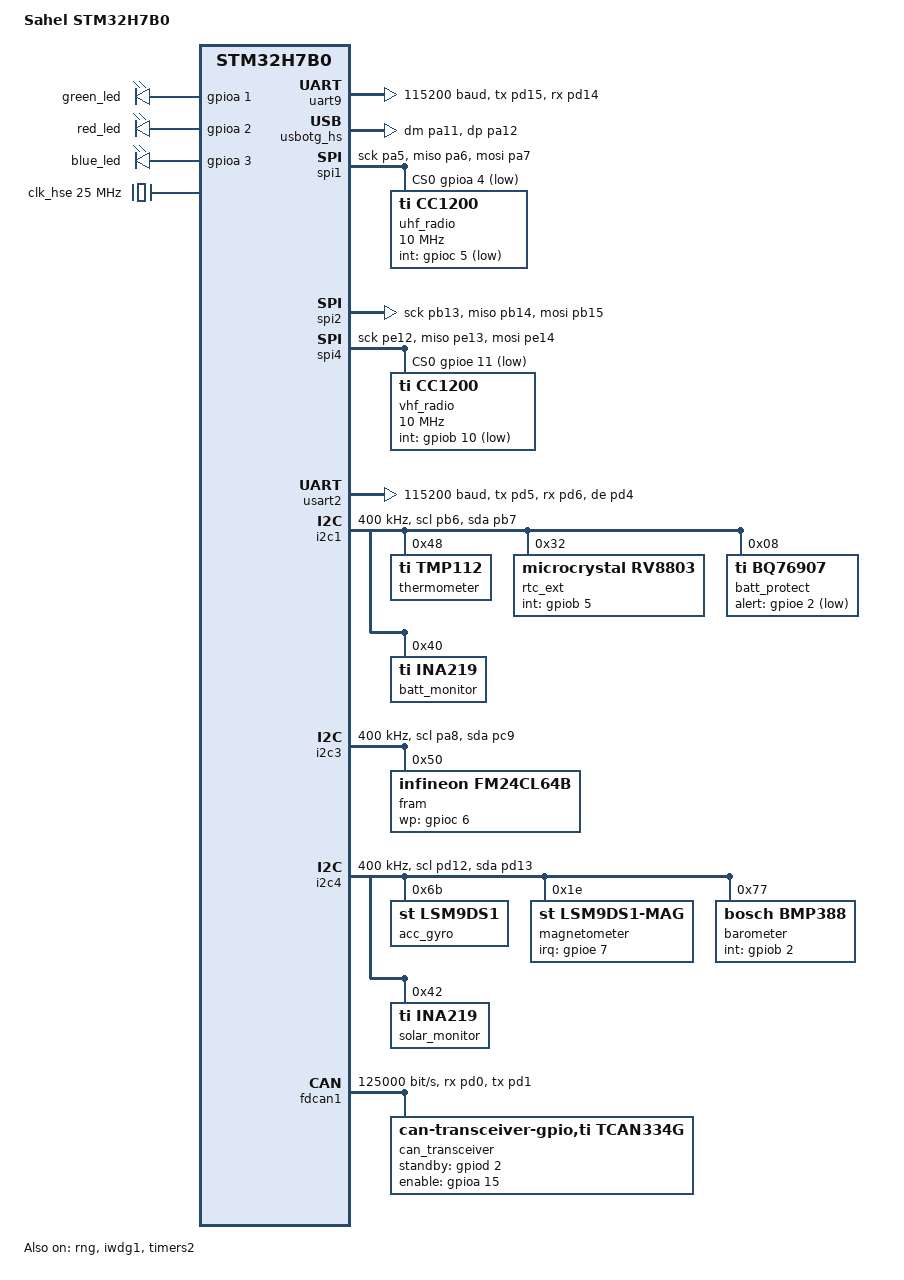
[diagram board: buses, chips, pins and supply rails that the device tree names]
/*
 * Copyright (c) 2026 pollelsat
 *
 * SPDX-License-Identifier: Apache-2.0
 */


/dts-v1/;

#include <st/h7/stm32h7b0Xb.dtsi>
#include <st/h7/stm32h7b0vbtx-pinctrl.dtsi>
#include <zephyr/dt-bindings/input/input-event-codes.h>
#include <zephyr/dt-bindings/mipi_dbi/mipi_dbi.h>

#include <zephyr/dt-bindings/sensor/lsm9ds1.h>
#include <zephyr/dt-bindings/timer/stm32-timer.h>
/ {

	model = "Sahel STM32H7B0";
	compatible = "custom,sahel-stm32h7b0";

	chosen {
		zephyr,sram = &sram0;
		zephyr,flash = &flash0;
		zephyr,entropy = &rng;

		zephyr,console = &cdc_acm_uart0;
		zephyr,shell-uart = &cdc_acm_uart0;

		zephyr,canbus = &fdcan1;
	};

	aliases {
    led0 = &green_led;
    led1 = &red_led;
    led2 = &blue_led;
    bus-spi = &spi2;
    bus-i2c = &i2c4;

    imu = &acc_gyro;
    mag = &magnetometer;

    fram = &fram;
		};

	leds {
		compatible = "gpio-leds";

		green_led: led_0 {
			gpios = <&gpioa 1 GPIO_ACTIVE_HIGH>;
		};

		red_led: led_1 {
			gpios = <&gpioa 2 GPIO_ACTIVE_HIGH>;
		};

		blue_led: led_2 {
			gpios = <&gpioa 3 GPIO_ACTIVE_HIGH>;
		};
	};

	uart9: serial@40011800 {
			compatible = "st,stm32-uart";
			reg = <0x40011800 0x400>;
			clocks = <&rcc STM32_CLOCK(APB2, 6)>;
			resets = <&rctl STM32_RESET(APB2, 6)>;
			interrupt-parent = <&nvic>;
			interrupts = <155 0>;
			status = "disabled";
		};	
};


/* -------------------------------------------------------------------------- */
/* CLOCKS / POWER                                                             */
/* -------------------------------------------------------------------------- */

&clk_lsi {
	status = "okay";
};

&clk_hsi48 {
	status = "okay";
};

&clk_hse {
	clock-frequency = <DT_FREQ_M(25)>;
	status = "okay";
};

&pll {
	div-m = <5>;
	mul-n = <112>;

	div-p = <2>;
	div-q = <2>;
	div-r = <2>;

	clocks = <&clk_hse>;

	status = "okay";
};

&rcc {
	clocks = <&pll>;

	clock-frequency = <DT_FREQ_M(280)>;

	d1cpre = <1>;
	hpre = <2>;

	d1ppre = <1>;
	d2ppre1 = <1>;
	d2ppre2 = <1>;
	d3ppre = <1>;
};

&pwr {
	power-supply = "ldo";
};

&rng {
	status = "okay";
};

&backup_sram {
	status = "okay";
};

&iwdg1 {
	status = "okay";
};

/* -------------------------------------------------------------------------- */
/* USB                                                                        */
/* -------------------------------------------------------------------------- */

zephyr_udc0: &usbotg_hs {
	pinctrl-0 = <
		&usb_otg_hs_dm_pa11
		&usb_otg_hs_dp_pa12
	>;

	pinctrl-names = "default";

	status = "okay";
};

#include <../boards/common/usb/cdc_acm_serial.dtsi>

/* -------------------------------------------------------------------------- */
/* SPI                                                                        */
/* -------------------------------------------------------------------------- */

&spi1 {

	pinctrl-0 = <
		&spi1_sck_pa5
		&spi1_miso_pa6
		&spi1_mosi_pa7
	>;

	cs-gpios = <&gpioa 4 GPIO_ACTIVE_LOW>;

	pinctrl-names = "default";

	status = "okay";

	uhf_radio: cc1200@0 {

		compatible = "ti,cc1200";

		reg = <0>;

		spi-max-frequency = <10000000>;

		int-gpios = <&gpioc 5 GPIO_ACTIVE_LOW>;
		//gpio3-gpios = <&gpioc 4 GPIO_ACTIVE_LOW>;

		//frequency = <430000000>;
		//datarate = <12000>;
	};
};

&spi2 {

	pinctrl-0 = <
		&spi2_sck_pb13
		&spi2_miso_pb14
		&spi2_mosi_pb15
	>;

	cs-gpios =
		<&gpiob 12 GPIO_ACTIVE_LOW>,
		<&gpiod 8 GPIO_ACTIVE_LOW>,
		<&gpiod 9 GPIO_ACTIVE_LOW>;

	pinctrl-names = "default";

	status = "okay";
};

&spi4 {

	pinctrl-0 = <
		&spi4_sck_pe12
		&spi4_miso_pe13
		&spi4_mosi_pe14
	>;

	cs-gpios = <&gpioe 11 GPIO_ACTIVE_LOW>;

	pinctrl-names = "default";

	status = "okay";

	vhf_radio: cc1200@0 {

		compatible = "ti,cc1200";

		reg = <0>;

		spi-max-frequency = <10000000>;

		int-gpios = <&gpiob 10 GPIO_ACTIVE_LOW>;
		//gpio3-gpios = <&gpiob 14 GPIO_ACTIVE_LOW>;

		//frequency = <170000000>;
		//datarate = <12000>;

		//status = "okay";
	};
};

/* -------------------------------------------------------------------------- */
/* UART / USART                                                               */
/* -------------------------------------------------------------------------- */

&usart2 {

	pinctrl-0 = <
		&usart2_tx_pd5
		&usart2_rx_pd6
		&usart2_de_pd4
	>;

	pinctrl-names = "default";

	current-speed = <115200>;

	de-enable;

	status = "okay";
};

&uart9 {

	pinctrl-0 = <
		&uart9_tx_pd15
		&uart9_rx_pd14
	>;

	pinctrl-names = "default";

	current-speed = <115200>;

	status = "okay";
};

/* -------------------------------------------------------------------------- */
/* I2C1                                                                       */
/* -------------------------------------------------------------------------- */

&i2c1 {

	pinctrl-0 = <
		&i2c1_scl_pb6
		&i2c1_sda_pb7
	>;

	pinctrl-names = "default";

	clock-frequency = <I2C_BITRATE_FAST>;

	status = "okay";

	thermometer: tmp112@48 {

		compatible = "ti,tmp112";

		reg = <0x48>;
	};

	rtc_ext: rv8803c7@32 {

		compatible = "microcrystal,rv8803";

		reg = <0x32>;
		clkout-frequency = <32768>;
		int-gpios = <&gpiob 5 GPIO_ACTIVE_HIGH>;
		//evi-gpios = <&gpiob 4 GPIO_ACTIVE_HIGH>;
	};

	batt_protect: bq76907@8 {
		compatible = "ti,bq76907";
		reg = <0x08>;

		alert-gpios = <&gpioe 2 (GPIO_PULL_UP | GPIO_ACTIVE_LOW)>;

		overvoltage-threshold = <4200>;
		undervoltage-threshold = <2500>;
		overcurrent-in-charge-threshold = <2000>;
		overcurrent-in-discharge1-threshold = <3500>;
		overcurrent-in-discharge2-threshold = <3500>;
		number-cell = <2>;
		rsense_mohms= <10>;
	};

	batt_monitor: ina219a@40 {

		compatible = "ti,ina219";

		reg = <0x40>;

		shunt-milliohm = <10>;
		lsb-microamp = <100>;

		status = "okay";
	};
};

/* -------------------------------------------------------------------------- */
/* I2C3                                                                       */
/* -------------------------------------------------------------------------- */

&i2c3 {

	pinctrl-0 = <
		&i2c3_scl_pa8
		&i2c3_sda_pc9
	>;

	pinctrl-names = "default";

	clock-frequency = <I2C_BITRATE_FAST>;

	status = "okay";

	fram: fm24cl64b@50 {
		status = "okay";

		compatible = "infineon,fm24cl64b";

		reg = <0x50>;

		size = <8192>;
		pagesize = <8>;
		address-width = <16>;

		wp-gpios = <&gpioc 6 GPIO_ACTIVE_HIGH>;

	};
};

/* -------------------------------------------------------------------------- */
/* I2C4                                                                       */
/* -------------------------------------------------------------------------- */

&i2c4 {

	pinctrl-0 = <
		&i2c4_scl_pd12
		&i2c4_sda_pd13
	>;

	pinctrl-names = "default";

	clock-frequency = <I2C_BITRATE_FAST>;

	status = "okay";

	acc_gyro: lsm9ds1@6b {

		compatible = "st,lsm9ds1";

		reg = <0x6b>;

		//irq-gpios = <&gpioe 8 GPIO_ACTIVE_HIGH>;
		accel-range = <LSM9DS1_DT_FS_4G>;
		gyro-range = <LSM9DS1_DT_FS_500DPS>;

		imu-odr = <LSM9DS1_GY_OFF_XL_10Hz>;
	};

	magnetometer: lsm9ds1_mag@1e {

		compatible = "st,lsm9ds1-mag";

		reg = <0x1e>;
		mag-range = <LSM9DS1_DT_FS_8Ga>;
		mag-odr = <LSM9DS1_MAG_LP_10Hz>;
		irq-gpios = <&gpioe 7 GPIO_ACTIVE_HIGH>;
	};

	barometer: bmp390@77 {

		compatible = "bosch,bmp388";

		reg = <0x77>;

		int-gpios = <&gpiob 2 GPIO_ACTIVE_HIGH>;

		odr = "12.5";

		osr-press = <8>;
		osr-temp = <1>;

		iir-filter = <3>;
	};

	solar_monitor: ina219a@42 {

		compatible = "ti,ina219";

		reg = <0x42>;

		shunt-milliohm = <10>;
		lsb-microamp = <100>;

		status = "okay";
	};
};

/* -------------------------------------------------------------------------- */
/* CAN                                                                        */
/* -------------------------------------------------------------------------- */

&fdcan1 {

	pinctrl-0 = <
		&fdcan1_rx_pd0
		&fdcan1_tx_pd1
	>;

	status = "okay";

	bitrate = <125000>;
	bitrate-data = <1000000>;

	can_transceiver: tcan334g {

		compatible = "can-transceiver-gpio,ti,tcan334g";

		max-bitrate = <5000000>;
		#phy-cells = <0>;
		standby-gpios = <&gpiod 2 GPIO_ACTIVE_HIGH>;
		enable-gpios = <&gpioa 15 GPIO_ACTIVE_HIGH>;
	};
};

/* -------------------------------------------------------------------------- */
/* TIMERS                                                                     */
/* -------------------------------------------------------------------------- */

&timers2 {

	status = "okay";

	st,prescaler = <4479>;

	st,countermode = <STM32_TIM_COUNTERMODE_UP>;

	counter {
		compatible = "st,stm32-counter";
	};
};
